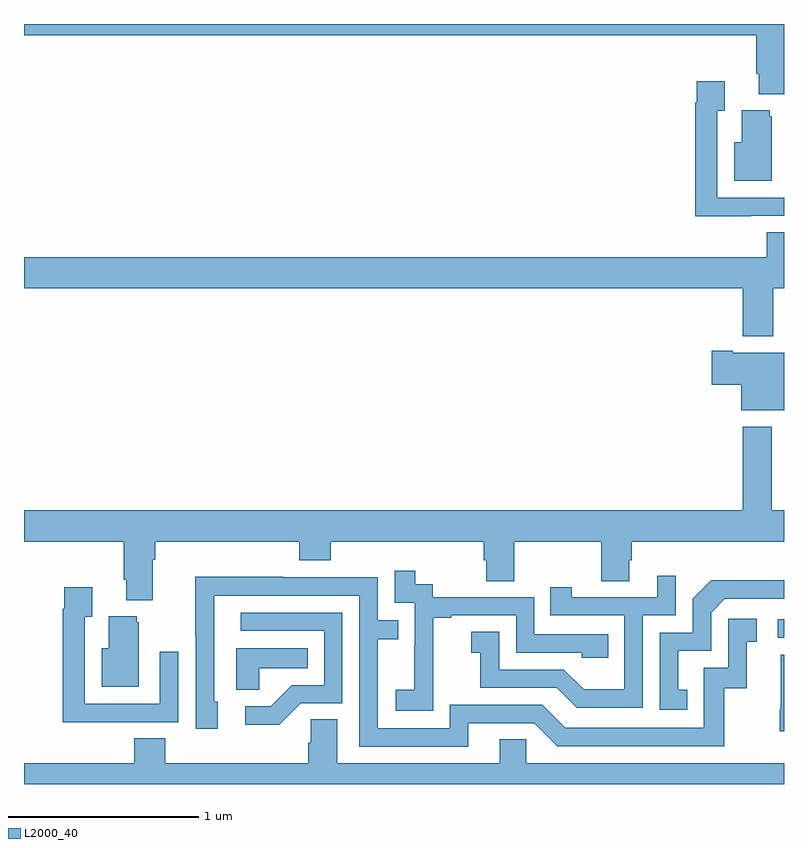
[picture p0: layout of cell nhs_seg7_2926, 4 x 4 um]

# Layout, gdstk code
import gdstk
lib = gdstk.Library(unit=1e-6, precision=1e-09)
def R(c, l, rs):  # rectangles x0, y0, x1, y1
    for r in rs: c.add(gdstk.rectangle(r[:2], r[2:], *l))
def P(c, l, *ps):  # polygons
    for p in ps: c.add(gdstk.Polygon(p, *l))
L2000_40 = (2000, 40)

nhs_seg7_2926 = lib.new_cell('nhs_seg7_2926')
R(nhs_seg7_2926, L2000_40, [(302.967,1006.77,303,1006.866)])
P(nhs_seg7_2926, L2000_40, [(303,1010),(299,1010),(299,1009.94),(302.855,1009.94),(302.855,1009.738),(302.867,1009.738),(302.867,1009.631),(303,1009.631)],
  [(302.825,1008.99),(303,1008.99),(303,1009.086),(302.649,1009.086),(302.649,1009.543),(302.689,1009.543),(302.689,1009.699),(302.541,1009.699),(302.541,1009.586),(302.533,1009.586),(302.533,1008.989),(302.825,1008.989)],
  [(302.935,1009.515),(302.924,1009.515),(302.924,1009.546),(302.777,1009.546),(302.777,1009.378),(302.738,1009.378),(302.738,1009.175),(302.935,1009.175)],
  [(302.943,1008.608),(303,1008.608),(303,1008.905),(302.909,1008.905),(302.909,1008.772),(299,1008.772),(299,1008.608),(302.783,1008.608),(302.783,1008.356),(302.943,1008.356)],
  [(303,1008.271),(302.731,1008.271),(302.731,1008.279),(302.619,1008.279),(302.619,1008.101),(302.774,1008.101),(302.774,1007.966),(303,1007.966)],
  [(299.677,1007.18),(299.69,1007.18),(299.69,1007.276),(300.449,1007.276),(300.449,1007.177),(300.614,1007.177),(300.614,1007.276),(301.421,1007.276),(301.421,1007.178),(301.433,1007.178),(301.433,1007.068),(301.581,1007.068),(301.581,1007.276),(302.038,1007.276),(302.038,1007.068),(302.185,1007.068),(302.185,1007.178),(302.198,1007.178),(302.198,1007.276),(303,1007.276),(303,1007.44),(302.935,1007.44),(302.935,1007.881),(302.783,1007.881),(302.783,1007.44),(299,1007.44),(299,1007.276),(299.525,1007.276),(299.525,1007.074),(299.537,1007.074),(299.537,1006.967),(299.677,1006.967)],
  [(301.155,1006.591),(301.154,1006.591),(301.154,1006.875),(301.249,1006.875),(301.249,1006.887),(301.59,1006.887),(301.59,1006.692),(301.935,1006.692),(301.935,1006.665),(302.075,1006.665),(302.075,1006.788),(301.686,1006.788),(301.686,1006.983),(301.152,1006.983),(301.152,1007.052),(301.06,1007.052),(301.06,1007.122),(300.951,1007.122),(300.951,1006.953),(301.056,1006.953),(301.056,1006.724),(301.055,1006.724),(301.055,1006.495),(300.957,1006.495),(300.957,1006.385),(301.155,1006.385)],
  [(302.256,1006.887),(302.43,1006.887),(302.43,1007.095),(302.333,1007.095),(302.333,1006.983),(301.882,1006.983),(301.882,1007.035),(301.771,1007.035),(301.771,1006.887),(302.16,1006.887),(302.16,1006.498),(301.946,1006.498),(301.842,1006.602),(301.5,1006.602),(301.5,1006.801),(301.353,1006.801),(301.353,1006.691),(301.402,1006.691),(301.402,1006.506),(301.805,1006.506),(301.91,1006.401),(302.256,1006.401)],
  [(301.339,1006.32),(301.686,1006.32),(301.806,1006.2),(302.686,1006.2),(302.686,1006.503),(302.804,1006.503),(302.804,1006.749),(302.857,1006.749),(302.857,1006.87),(302.706,1006.87),(302.706,1006.611),(302.577,1006.611),(302.577,1006.296),(301.848,1006.296),(301.728,1006.416),(301.242,1006.416),(301.242,1006.293),(300.861,1006.293),(300.861,1006.762),(300.971,1006.762),(300.971,1006.863),(300.861,1006.863),(300.861,1007.088),(300.365,1007.088),(300.365,1007.09),(299.902,1007.09),(299.902,1006.783),(299.904,1006.783),(299.904,1006.29),(300.019,1006.29),(300.019,1006.434),(300,1006.434),(300,1006.992),(300.765,1006.992),(300.765,1006.197),(301.339,1006.197)],
  [(302.492,1006.497),(302.443,1006.497),(302.443,1006.701),(302.616,1006.701),(302.616,1006.902),(302.688,1006.974),(303,1006.974),(303,1007.072),(302.618,1007.072),(302.52,1006.974),(302.52,1006.797),(302.346,1006.797),(302.346,1006.392),(302.492,1006.392)],
  [(299.495,1006.326),(299.811,1006.326),(299.811,1006.696),(299.715,1006.696),(299.715,1006.422),(299.319,1006.422),(299.319,1006.879),(299.359,1006.879),(299.359,1007.035),(299.211,1007.035),(299.211,1006.922),(299.203,1006.922),(299.203,1006.325),(299.495,1006.325)],
  [(300.456,1006.425),(300.675,1006.425),(300.675,1006.902),(300.141,1006.902),(300.141,1006.806),(300.579,1006.806),(300.579,1006.521),(300.41,1006.521),(300.299,1006.41),(300.165,1006.41),(300.165,1006.313),(300.343,1006.313)],
  [(299.605,1006.851),(299.594,1006.851),(299.594,1006.882),(299.447,1006.882),(299.447,1006.714),(299.408,1006.714),(299.408,1006.511),(299.605,1006.511)],
  [(300.237,1006.61),(300.494,1006.61),(300.494,1006.714),(300.116,1006.714),(300.116,1006.495),(300.237,1006.495)],
  [(303,1006.681),(302.984,1006.681),(302.984,1006.39),(302.977,1006.39),(302.977,1006.278),(303,1006.278)],
  [(303,1006.108),(301.644,1006.108),(301.644,1006.235),(301.505,1006.235),(301.505,1006.108),(300.649,1006.108),(300.649,1006.34),(300.51,1006.34),(300.51,1006.217),(300.497,1006.217),(300.497,1006.108),(299.744,1006.108),(299.744,1006.241),(299.579,1006.241),(299.579,1006.108),(299,1006.108),(299,1006),(303,1006)])

lib.write_gds('nhs_seg7_2926.gds')
